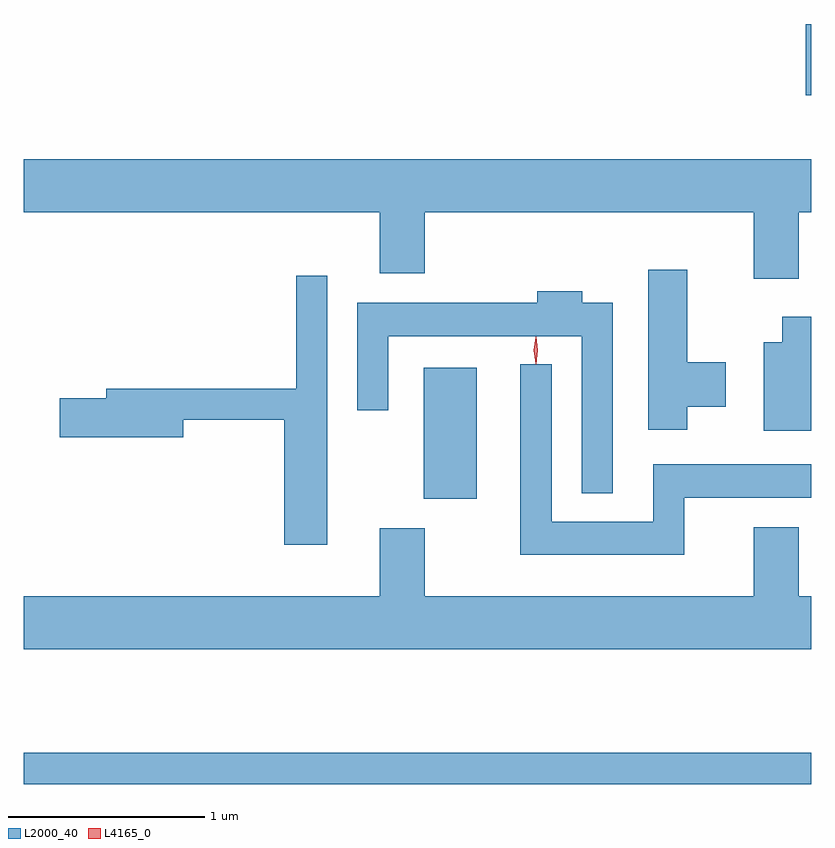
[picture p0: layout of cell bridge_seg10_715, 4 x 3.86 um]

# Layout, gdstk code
import gdstk
lib = gdstk.Library(unit=1e-6, precision=1e-09)
def R(c, l, rs):  # rectangles x0, y0, x1, y1
    for r in rs: c.add(gdstk.rectangle(r[:2], r[2:], *l))
def P(c, l, *ps):  # polygons
    for p in ps: c.add(gdstk.Polygon(p, *l))
L2000_40 = (2000, 40)
L4165_0 = (4165, 0)

bridge_seg10_715 = lib.new_cell('bridge_seg10_715')
R(bridge_seg10_715, L2000_40, [(948.053,2113.231,952.053,2113.389), (950.086,2114.681,950.354,2115.344), (952.026,2116.728,952.053,2117.091)])
P(bridge_seg10_715, L2000_40, [(951.989,2116.136),(952.053,2116.136),(952.053,2116.404),(948.053,2116.404),(948.053,2116.136),(949.861,2116.136),(949.861,2115.826),(950.089,2115.826),(950.089,2116.136),(951.761,2116.136),(951.761,2115.796),(951.989,2115.796)],
  [(951.424,2115.146),(951.619,2115.146),(951.619,2115.374),(951.424,2115.374),(951.424,2115.844),(951.226,2115.844),(951.226,2115.031),(951.424,2115.031)],
  [(949.594,2115.813),(949.436,2115.813),(949.436,2115.239),(948.471,2115.239),(948.471,2115.189),(948.236,2115.189),(948.236,2114.991),(948.864,2114.991),(948.864,2115.081),(949.376,2115.081),(949.376,2114.446),(949.594,2114.446)],
  [(951.044,2115.674),(950.889,2115.674),(950.889,2115.734),(950.661,2115.734),(950.661,2115.674),(949.746,2115.674),(949.746,2115.128),(949.904,2115.128),(949.904,2115.506),(950.886,2115.506),(950.886,2114.708),(951.044,2114.708)],
  [(952.053,2115.604),(951.906,2115.604),(951.906,2115.474),(951.811,2115.474),(951.811,2115.026),(952.053,2115.026)],
  [(951.409,2114.686),(952.053,2114.686),(952.053,2114.854),(951.251,2114.854),(951.251,2114.564),(950.734,2114.564),(950.734,2115.363),(950.576,2115.363),(950.576,2114.396),(951.409,2114.396)],
  [(952.053,2114.184),(951.989,2114.184),(951.989,2114.534),(951.761,2114.534),(951.761,2114.184),(950.089,2114.184),(950.089,2114.529),(949.861,2114.529),(949.861,2114.184),(948.053,2114.184),(948.053,2113.916),(952.053,2113.916)])
P(bridge_seg10_715, L4165_0, [(950.654,2115.367),(950.654,2115.367),(950.644,2115.434),(950.653,2115.5),(950.654,2115.5),(950.654,2115.5),(950.664,2115.434),(950.655,2115.367)],
  [(950.654,2115.364),(950.645,2115.434),(950.654,2115.502),(950.655,2115.503),(950.656,2115.502),(950.665,2115.434),(950.656,2115.364),(950.655,2115.364)])

lib.write_gds('bridge_seg10_715.gds')
